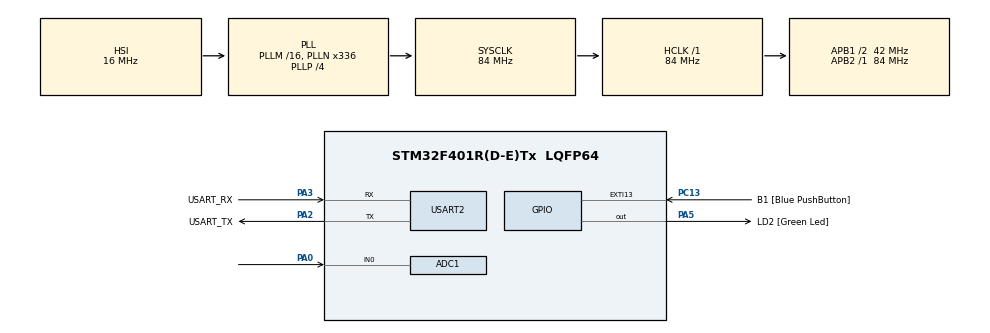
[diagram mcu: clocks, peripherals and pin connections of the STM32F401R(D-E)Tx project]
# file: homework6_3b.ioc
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ADC1.Channel-1\#ChannelRegularConversion=ADC_CHANNEL_0
ADC1.ContinuousConvMode=DISABLE
ADC1.DMAContinuousRequests=ENABLE
ADC1.ExternalTrigConv=ADC_EXTERNALTRIGCONV_T2_TRGO
ADC1.NbrOfConversionFlag=1
ADC1.Rank-1\#ChannelRegularConversion=1
ADC1.SamplingTime-1\#ChannelRegularConversion=ADC_SAMPLETIME_480CYCLES
ADC1.master=1
Dma.ADC1.0.Direction=DMA_PERIPH_TO_MEMORY
Dma.ADC1.0.FIFOMode=DMA_FIFOMODE_DISABLE
Dma.ADC1.0.Instance=DMA2_Stream0
Dma.ADC1.0.MemDataAlignment=DMA_MDATAALIGN_WORD
Dma.ADC1.0.MemInc=DMA_MINC_ENABLE
Dma.ADC1.0.Mode=DMA_CIRCULAR
Dma.ADC1.0.PeriphDataAlignment=DMA_PDATAALIGN_WORD
Dma.ADC1.0.PeriphInc=DMA_PINC_DISABLE
Dma.ADC1.0.Priority=DMA_PRIORITY_LOW
Dma.Request0=ADC1
Dma.Request1=USART2_TX
Dma.USART2_TX.1.Direction=DMA_MEMORY_TO_PERIPH
Dma.USART2_TX.1.FIFOMode=DMA_FIFOMODE_DISABLE
Dma.USART2_TX.1.Instance=DMA1_Stream6
Dma.USART2_TX.1.MemDataAlignment=DMA_MDATAALIGN_BYTE
Dma.USART2_TX.1.MemInc=DMA_MINC_ENABLE
Dma.USART2_TX.1.Mode=DMA_NORMAL
Dma.USART2_TX.1.PeriphDataAlignment=DMA_PDATAALIGN_BYTE
Dma.USART2_TX.1.PeriphInc=DMA_PINC_DISABLE
Dma.USART2_TX.1.Priority=DMA_PRIORITY_LOW
Mcu.Family=STM32F4
Mcu.Name=STM32F401R(D-E)Tx
Mcu.Package=LQFP64
NVIC.ADC_IRQn=true\:0\:0\:false\:false\:true\:true\:true\:true
NVIC.DMA1_Stream6_IRQn=true\:0\:0\:false\:false\:true\:false\:true\:true
NVIC.DMA2_Stream0_IRQn=true\:0\:0\:false\:false\:true\:false\:true\:true
NVIC.PriorityGroup=NVIC_PRIORITYGROUP_0
NVIC.USART2_IRQn=true\:0\:0\:false\:false\:true\:true\:true\:true
PA0-WKUP.Signal=ADCx_IN0
PA13.GPIO_Label=TMS
PA13.Mode=Serial_Wire
PA13.Signal=SYS_JTMS-SWDIO
PA14.GPIO_Label=TCK
PA14.Mode=Serial_Wire
PA14.Signal=SYS_JTCK-SWCLK
PA2.GPIO_Label=USART_TX
PA2.GPIO_Mode=GPIO_MODE_AF_PP
PA2.GPIO_PuPd=GPIO_NOPULL
PA2.GPIO_Speed=GPIO_SPEED_FREQ_LOW
PA2.Mode=Asynchronous
PA2.Signal=USART2_TX
PA3.GPIO_Label=USART_RX
PA3.GPIO_Mode=GPIO_MODE_AF_PP
PA3.GPIO_PuPd=GPIO_NOPULL
PA3.GPIO_Speed=GPIO_SPEED_FREQ_LOW
PA3.Mode=Asynchronous
PA3.Signal=USART2_RX
PA5.GPIO_Label=LD2 [Green Led]
PA5.GPIO_Mode=GPIO_MODE_OUTPUT_PP
PA5.GPIO_PuPd=GPIO_NOPULL
PA5.GPIO_Speed=GPIO_SPEED_FREQ_LOW
PA5.Signal=GPIO_Output
PB3.GPIO_Label=SWO
PB3.Signal=SYS_JTDO-SWO
PC13-ANTI_TAMP.GPIO_Label=B1 [Blue PushButton]
PC13-ANTI_TAMP.GPIO_ModeDefaultEXTI=GPIO_MODE_IT_FALLING
PC13-ANTI_TAMP.GPIO_PuPd=GPIO_NOPULL
PC13-ANTI_TAMP.Signal=GPXTI13
PC14-OSC32_IN.Mode=LSE-External-Oscillator
PC14-OSC32_IN.Signal=RCC_OSC32_IN
PC15-OSC32_OUT.Mode=LSE-External-Oscillator
PC15-OSC32_OUT.Signal=RCC_OSC32_OUT
PH0\ -\ OSC_IN.Mode=HSE-External-Clock-Source
PH0\ -\ OSC_IN.Signal=RCC_OSC_IN
PH1\ -\ OSC_OUT.Mode=HSE-External-Clock-Source
PH1\ -\ OSC_OUT.Signal=RCC_OSC_OUT
ProjectManager.HeapSize=0x200
ProjectManager.StackSize=0x400
ProjectManager.TargetToolchain=STM32CubeIDE
RCC.48MHZClocksFreq_Value=48000000
RCC.AHBFreq_Value=84000000
RCC.APB1CLKDivider=RCC_HCLK_DIV2
RCC.APB1Freq_Value=42000000
RCC.APB1TimFreq_Value=84000000
RCC.APB2Freq_Value=84000000
RCC.APB2TimFreq_Value=84000000
RCC.CortexFreq_Value=84000000
RCC.HCLKFreq_Value=84000000
RCC.HSE_VALUE=8000000
RCC.HSI_VALUE=16000000
RCC.PLLN=336
RCC.PLLP=RCC_PLLP_DIV4
RCC.PLLQ=7
RCC.SYSCLKFreq_VALUE=84000000
RCC.SYSCLKSource=RCC_SYSCLKSOURCE_PLLCLK
RCC.VCOOutputFreq_Value=336000000
SH.ADCx_IN0.0=ADC1_IN0,IN0
TIM2.Period=84000-1
TIM2.Prescaler=0
TIM2.TIM_MasterOutputTrigger=TIM_TRGO_UPDATE
USART2.VirtualMode=VM_ASYNC
VP_TIM2_VS_ClockSourceINT.Mode=Internal
board=NUCLEO-F401RE

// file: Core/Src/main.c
/* USER CODE BEGIN Header */
/**
  ******************************************************************************
  * @file           : main.c
  * @brief          : Main program body
  ******************************************************************************
  * @attention
  *
  * Copyright (c) 2024 STMicroelectronics.
  * All rights reserved.
  *
  * This software is licensed under terms that can be found in the LICENSE file
  * in the root directory of this software component.
  * If no LICENSE file comes with this software, it is provided AS-IS.
  *
  ******************************************************************************
  */
/* USER CODE END Header */
#include "main.h"
#include "math.h"

ADC_HandleTypeDef hadc1;
DMA_HandleTypeDef hdma_adc1;

TIM_HandleTypeDef htim2;

UART_HandleTypeDef huart2;
DMA_HandleTypeDef hdma_usart2_tx;

void SystemClock_Config(void);
static void MX_GPIO_Init(void);
static void MX_DMA_Init(void);
static void MX_USART2_UART_Init(void);
static void MX_ADC1_Init(void);
static void MX_TIM2_Init(void);

/* USER CODE BEGIN 0 */
uint32_t vector[2000];
void HAL_UART_TxCpltCallback(UART_HandleTypeDef *huart)
{
  if(huart == &huart2){
	  __HAL_DMA_CLEAR_FLAG(&hdma_usart2_tx, DMA_FLAG_TCIF2_6);
  }
}

//convert first 1000 samples, as soon as half of the buffer is filled
void HAL_ADC_ConvHalfCpltCallback(ADC_HandleTypeDef* hadc){
	if(hadc == &hadc1){
		float sum=0;
		for (int i = 0; i<1000 ;i++) {
			sum = sum + vector[i];
		}
		float avg_V = (sum/1000.0)*3.3/4096.0;

		float ldr = (100000*avg_V)/(3.3-avg_V);
	    float LUX = 10*pow(100000/ldr,1.25);
	    char string [74];

	    int length= snprintf(string, sizeof(string), "resistance value %.3f, lux value: %.3f\r\n ",ldr,LUX);
	    HAL_UART_Transmit_DMA(&huart2, string, length);

	}
}
//converts the remaining samples
void HAL_ADC_ConvCpltCallback(ADC_HandleTypeDef* hadc){
	if(hadc == &hadc1){
		float sum=0;
		for (int i = 1000; i<2000 ;i++) {
			sum = sum + vector[i];
		}
		float avg_V = (sum/1000.0)*3.3/4096.0;

		float ldr = (100000*avg_V)/(3.3-avg_V);
	    float LUX = 10*pow(100000/ldr,1.25);
	    char string [74];

	    int length= snprintf(string, sizeof(string), "resistance value %.3f, lux value: %.3f\r\n ",ldr,LUX);
	    HAL_UART_Transmit_DMA(&huart2, string, length);

	}
}

/* USER CODE END 0 */

int main(void)
{

  /* MCU Configuration--------------------------------------------------------*/

  /* Reset of all peripherals, Initializes the Flash interface and the Systick. */
  HAL_Init();

  /* Configure the system clock */
  SystemClock_Config();

  /* Initialize all configured peripherals */
  MX_GPIO_Init();
  MX_DMA_Init();
  MX_USART2_UART_Init();
  MX_ADC1_Init();
  MX_TIM2_Init();

  /* USER CODE BEGIN 2 */
  HAL_TIM_Base_Start(&htim2);
  HAL_ADC_Start_DMA(&hadc1, vector, sizeof(vector)/sizeof(uint32_t));

  /* USER CODE END 2 */

  /* Infinite loop */
  while (1)
  {

  }
}

void SystemClock_Config(void)
{
  RCC_OscInitTypeDef RCC_OscInitStruct = {0};
  RCC_ClkInitTypeDef RCC_ClkInitStruct = {0};

  /** Configure the main internal regulator output voltage
  */
  __HAL_RCC_PWR_CLK_ENABLE();
  __HAL_PWR_VOLTAGESCALING_CONFIG(PWR_REGULATOR_VOLTAGE_SCALE2);

  /** Initializes the RCC Oscillators according to the specified parameters
  * in the RCC_OscInitTypeDef structure.
  */
  RCC_OscInitStruct.OscillatorType = RCC_OSCILLATORTYPE_HSI;
  RCC_OscInitStruct.HSIState = RCC_HSI_ON;
  RCC_OscInitStruct.HSICalibrationValue = RCC_HSICALIBRATION_DEFAULT;
  RCC_OscInitStruct.PLL.PLLState = RCC_PLL_ON;
  RCC_OscInitStruct.PLL.PLLSource = RCC_PLLSOURCE_HSI;
  RCC_OscInitStruct.PLL.PLLM = 16;
  RCC_OscInitStruct.PLL.PLLN = 336;
  RCC_OscInitStruct.PLL.PLLP = RCC_PLLP_DIV4;
  RCC_OscInitStruct.PLL.PLLQ = 7;
  if (HAL_RCC_OscConfig(&RCC_OscInitStruct) != HAL_OK)
  {
    Error_Handler();
  }

  /** Initializes the CPU, AHB and APB buses clocks
  */
  RCC_ClkInitStruct.ClockType = RCC_CLOCKTYPE_HCLK|RCC_CLOCKTYPE_SYSCLK
                              |RCC_CLOCKTYPE_PCLK1|RCC_CLOCKTYPE_PCLK2;
  RCC_ClkInitStruct.SYSCLKSource = RCC_SYSCLKSOURCE_PLLCLK;
  RCC_ClkInitStruct.AHBCLKDivider = RCC_SYSCLK_DIV1;
  RCC_ClkInitStruct.APB1CLKDivider = RCC_HCLK_DIV2;
  RCC_ClkInitStruct.APB2CLKDivider = RCC_HCLK_DIV1;

  if (HAL_RCC_ClockConfig(&RCC_ClkInitStruct, FLASH_LATENCY_2) != HAL_OK)
  {
    Error_Handler();
  }
}

static void MX_ADC1_Init(void)
{

  ADC_ChannelConfTypeDef sConfig = {0};

  /** Configure the global features of the ADC (Clock, Resolution, Data Alignment and number of conversion)
  */
  hadc1.Instance = ADC1;
  hadc1.Init.ClockPrescaler = ADC_CLOCK_SYNC_PCLK_DIV4;
  hadc1.Init.Resolution = ADC_RESOLUTION_12B;
  hadc1.Init.ScanConvMode = DISABLE;
  hadc1.Init.ContinuousConvMode = DISABLE;
  hadc1.Init.DiscontinuousConvMode = DISABLE;
  hadc1.Init.ExternalTrigConvEdge = ADC_EXTERNALTRIGCONVEDGE_RISING;
  hadc1.Init.ExternalTrigConv = ADC_EXTERNALTRIGCONV_T2_TRGO;
  hadc1.Init.DataAlign = ADC_DATAALIGN_RIGHT;
  hadc1.Init.NbrOfConversion = 1;
  hadc1.Init.DMAContinuousRequests = ENABLE;
  hadc1.Init.EOCSelection = ADC_EOC_SINGLE_CONV;
  if (HAL_ADC_Init(&hadc1) != HAL_OK)
  {
    Error_Handler();
  }

  /** Configure for the selected ADC regular channel its corresponding rank in the sequencer and its sample time.
  */
  sConfig.Channel = ADC_CHANNEL_0;
  sConfig.Rank = 1;
  sConfig.SamplingTime = ADC_SAMPLETIME_480CYCLES;
  if (HAL_ADC_ConfigChannel(&hadc1, &sConfig) != HAL_OK)
  {
    Error_Handler();
  }

}

static void MX_TIM2_Init(void)
{

  TIM_ClockConfigTypeDef sClockSourceConfig = {0};
  TIM_MasterConfigTypeDef sMasterConfig = {0};

  htim2.Instance = TIM2;
  htim2.Init.Prescaler = 0;
  htim2.Init.CounterMode = TIM_COUNTERMODE_UP;
  htim2.Init.Period = 84000-1;
  htim2.Init.ClockDivision = TIM_CLOCKDIVISION_DIV1;
  htim2.Init.AutoReloadPreload = TIM_AUTORELOAD_PRELOAD_DISABLE;
  if (HAL_TIM_Base_Init(&htim2) != HAL_OK)
  {
    Error_Handler();
  }
  sClockSourceConfig.ClockSource = TIM_CLOCKSOURCE_INTERNAL;
  if (HAL_TIM_ConfigClockSource(&htim2, &sClockSourceConfig) != HAL_OK)
  {
    Error_Handler();
  }
  sMasterConfig.MasterOutputTrigger = TIM_TRGO_UPDATE;
  sMasterConfig.MasterSlaveMode = TIM_MASTERSLAVEMODE_DISABLE;
  if (HAL_TIMEx_MasterConfigSynchronization(&htim2, &sMasterConfig) != HAL_OK)
  {
    Error_Handler();
  }

}

static void MX_USART2_UART_Init(void)
{

  huart2.Instance = USART2;
  huart2.Init.BaudRate = 115200;
  huart2.Init.WordLength = UART_WORDLENGTH_8B;
  huart2.Init.StopBits = UART_STOPBITS_1;
  huart2.Init.Parity = UART_PARITY_NONE;
  huart2.Init.Mode = UART_MODE_TX_RX;
  huart2.Init.HwFlowCtl = UART_HWCONTROL_NONE;
  huart2.Init.OverSampling = UART_OVERSAMPLING_16;
  if (HAL_UART_Init(&huart2) != HAL_OK)
  {
    Error_Handler();
  }

}

static void MX_DMA_Init(void)
{

  /* DMA controller clock enable */
  __HAL_RCC_DMA2_CLK_ENABLE();
  __HAL_RCC_DMA1_CLK_ENABLE();

  /* DMA interrupt init */
  /* DMA1_Stream6_IRQn interrupt configuration */
  HAL_NVIC_SetPriority(DMA1_Stream6_IRQn, 0, 0);
  HAL_NVIC_EnableIRQ(DMA1_Stream6_IRQn);
  /* DMA2_Stream0_IRQn interrupt configuration */
  HAL_NVIC_SetPriority(DMA2_Stream0_IRQn, 0, 0);
  HAL_NVIC_EnableIRQ(DMA2_Stream0_IRQn);

}

static void MX_GPIO_Init(void)
{
  GPIO_InitTypeDef GPIO_InitStruct = {0};

  /* GPIO Ports Clock Enable */
  __HAL_RCC_GPIOC_CLK_ENABLE();
  __HAL_RCC_GPIOH_CLK_ENABLE();
  __HAL_RCC_GPIOA_CLK_ENABLE();
  __HAL_RCC_GPIOB_CLK_ENABLE();

  /*Configure GPIO pin Output Level */
  HAL_GPIO_WritePin(LD2_GPIO_Port, LD2_Pin, GPIO_PIN_RESET);

  /*Configure GPIO pin : B1_Pin */
  GPIO_InitStruct.Pin = B1_Pin;
  GPIO_InitStruct.Mode = GPIO_MODE_IT_FALLING;
  GPIO_InitStruct.Pull = GPIO_NOPULL;
  HAL_GPIO_Init(B1_GPIO_Port, &GPIO_InitStruct);

  /*Configure GPIO pin : LD2_Pin */
  GPIO_InitStruct.Pin = LD2_Pin;
  GPIO_InitStruct.Mode = GPIO_MODE_OUTPUT_PP;
  GPIO_InitStruct.Pull = GPIO_NOPULL;
  GPIO_InitStruct.Speed = GPIO_SPEED_FREQ_LOW;
  HAL_GPIO_Init(LD2_GPIO_Port, &GPIO_InitStruct);

}

void Error_Handler(void)
{
  __disable_irq();
  while (1)
  {
  }
}
